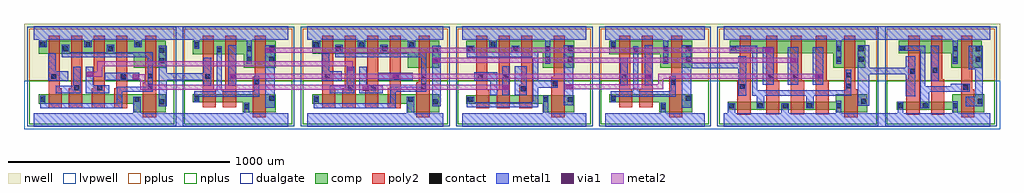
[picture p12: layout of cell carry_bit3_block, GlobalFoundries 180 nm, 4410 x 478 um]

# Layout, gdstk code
import gdstk
lib = gdstk.Library(unit=1e-6, precision=1e-07)
def R(c, l, rs):  # rectangles x0, y0, x1, y1
    for r in rs: c.add(gdstk.rectangle(r[:2], r[2:], *l))
def A(c, l, x, y, w, h, nx, ny, dx, dy):  # array of equal rectangles
    R(c, l, [(x+i*dx, y+j*dy, x+i*dx+w, y+j*dy+h) for i in range(nx) for j in range(ny)])
def P(c, l, *ps):  # polygons
    for p in ps: c.add(gdstk.Polygon(p, *l))
nwell = (21, 0)
comp = (22, 0)
poly2 = (30, 0)
pplus = (31, 0)
nplus = (32, 0)
contact = (33, 0)
metal1 = (34, 0)
via1 = (35, 0)
metal2 = (36, 0)
dualgate = (55, 0)
lvpwell = (204, 0)

carry_bit3_unit = lib.new_cell('carry_bit3_unit')
R(carry_bit3_unit, nwell, [(-98.4,822.1,603.6,1081.1), (603.6,822.1,1137.6,1081.1), (1137.6,822.1,1839.6,1081.1), (1839.6,822.1,2485.6,1081.1), (2485.6,822.1,3019.6,1081.1), (3019.6,822.1,3777.6,1081.1), (3777.6,822.1,4311.6,1081.1)])
P(carry_bit3_unit, comp, [(398.6,680.6),(398.6,720.1),(-31.4,720.1),(-31.4,762.1),(542.6,762.1),(542.6,680.6)],
  [(398.6,882.1),(398.6,944.1),(-31.4,944.1),(-31.4,1004.1),(542.6,1004.1),(542.6,882.1)],
  [(894.6,882.1),(894.6,943.6),(664.6,943.6),(664.6,1003.6),(1038.6,1003.6),(1038.6,882.1)],
  [(890.6,680.6),(890.6,725.6),(664.6,725.6),(664.6,762.1),(1038.6,762.1),(1038.6,680.6)],
  [(1634.6,680.6),(1634.6,720.1),(1204.6,720.1),(1204.6,762.1),(1778.6,762.1),(1778.6,680.6)],
  [(1634.6,882.1),(1634.6,944.1),(1204.6,944.1),(1204.6,1004.1),(1778.6,1004.1),(1778.6,882.1)],
  [(2244.6,680.6),(2244.6,720.1),(1900.6,720.1),(1900.6,758.1),(2388.6,758.1),(2388.6,680.6)],
  [(2244.6,882.6),(2244.6,950.6),(1900.6,950.6),(1900.6,1004.1),(2388.6,1004.1),(2388.6,882.6)],
  [(2772.6,680.6),(2772.6,725.6),(2546.6,725.6),(2546.6,762.1),(2920.6,762.1),(2920.6,680.6)],
  [(2776.6,882.1),(2776.6,943.6),(2546.6,943.6),(2546.6,1003.6),(2920.6,1003.6),(2920.6,882.1)],
  [(3558.6,882.1),(3558.6,948.1),(3090.6,948.1),(3090.6,1004.1),(3702.6,1004.1),(3702.6,882.1)],
  [(3568.6,680.1),(3568.6,692.6),(3080.6,692.6),(3080.6,728.6),(3568.6,728.6),(3568.6,762.1),(3712.6,762.1),(3712.6,680.1)],
  [(4092.1,882.1),(4092.1,947.6),(3854.1,947.6),(3854.1,1004.1),(4230.1,1004.1),(4230.1,882.1)],
  [(4096.1,680.1),(4096.1,692.6),(3844.1,692.6),(3844.1,728.6),(4096.1,728.6),(4096.1,762.1),(4240.1,762.1),(4240.1,680.1)])
P(carry_bit3_unit, poly2, [(12.6,698.1),(12.6,1026.1),(62.6,1026.1),(62.6,790.1),(72.6,790.1),(72.6,698.1)],
  [(104.6,698.1),(104.6,790.1),(114.6,790.1),(114.6,1026.1),(164.6,1026.1),(164.6,698.1)],
  [(206.6,698.1),(206.6,790.1),(216.6,790.1),(216.6,1026.1),(266.6,1026.1),(266.6,698.1)],
  [(308.6,698.1),(308.6,790.1),(318.6,790.1),(318.6,1026.1),(368.6,1026.1),(368.6,698.1)],
  [(438.6,658.1),(438.6,815.6),(448.6,815.6),(448.6,1026.1),(498.6,1026.1),(498.6,658.1)],
  [(934.6,658.1),(934.6,840.6),(944.6,840.6),(944.6,1026.1),(994.6,1026.1),(994.6,658.1)],
  [(800.6,703.6),(800.6,784.1),(810.6,784.1),(810.6,1026.1),(860.6,1026.1),(860.6,703.6)],
  [(708.6,703.6),(708.6,1026.1),(758.6,1026.1),(758.6,784.1),(768.6,784.1),(768.6,703.6)],
  [(1248.6,698.1),(1248.6,1026.1),(1298.6,1026.1),(1298.6,790.1),(1308.6,790.1),(1308.6,698.1)],
  [(1340.6,698.1),(1340.6,790.1),(1350.6,790.1),(1350.6,1026.1),(1400.6,1026.1),(1400.6,698.1)],
  [(1442.6,698.1),(1442.6,790.1),(1452.6,790.1),(1452.6,1026.1),(1502.6,1026.1),(1502.6,698.1)],
  [(1544.6,698.1),(1544.6,790.1),(1554.6,790.1),(1554.6,1026.1),(1604.6,1026.1),(1604.6,698.1)],
  [(1674.6,658.1),(1674.6,815.6),(1684.6,815.6),(1684.6,1026.1),(1734.6,1026.1),(1734.6,658.1)],
  [(1944.6,698.1),(1944.6,1026.1),(1994.6,1026.1),(1994.6,780.1),(2004.6,780.1),(2004.6,698.1)],
  [(2036.6,698.1),(2036.6,780.1),(2046.6,780.1),(2046.6,1026.1),(2096.6,1026.1),(2096.6,698.1)],
  [(2138.6,698.1),(2138.6,804.1),(2148.6,804.1),(2148.6,1026.1),(2198.6,1026.1),(2198.6,698.1)],
  [(2284.6,658.1),(2284.6,840.1),(2294.6,840.1),(2294.6,1026.1),(2344.6,1026.1),(2344.6,658.1)],
  [(2590.6,703.6),(2590.6,1026.1),(2640.6,1026.1),(2640.6,784.1),(2650.6,784.1),(2650.6,703.6)],
  [(2682.6,703.6),(2682.6,784.1),(2692.6,784.1),(2692.6,1026.1),(2742.6,1026.1),(2742.6,703.6)],
  [(2816.6,658.1),(2816.6,840.6),(2826.6,840.6),(2826.6,1026.1),(2876.6,1026.1),(2876.6,658.1)],
  [(3124.6,670.1),(3124.6,826.1),(3134.6,826.1),(3134.6,1026.1),(3184.6,1026.1),(3184.6,670.1)],
  [(3254.6,670.6),(3254.6,1026.1),(3304.6,1026.1),(3304.6,826.1),(3314.6,826.1),(3314.6,670.6)],
  [(3366.6,670.6),(3366.6,1026.1),(3416.6,1026.1),(3416.6,826.1),(3426.6,826.1),(3426.6,670.6)],
  [(3478.6,670.6),(3478.6,1026.1),(3528.6,1026.1),(3528.6,826.1),(3538.6,826.1),(3538.6,670.6)],
  [(3608.6,658.1),(3608.6,1026.1),(3658.6,1026.1),(3658.6,784.1),(3668.6,784.1),(3668.6,658.1)],
  [(3888.1,670.1),(3888.1,830.6),(3898.1,830.6),(3898.1,1026.1),(3948.1,1026.1),(3948.1,670.1)],
  [(4000.1,670.1),(4000.1,1026.1),(4050.1,1026.1),(4050.1,830.6),(4060.1,830.6),(4060.1,670.1)],
  [(4136.1,658.1),(4136.1,1026.1),(4186.1,1026.1),(4186.1,784.1),(4196.1,784.1),(4196.1,658.1)])
R(carry_bit3_unit, pplus, [(-75.4,822.1,580.6,1058.1), (626.6,822.1,1114.6,1058.1), (1160.6,822.1,1816.6,1058.1), (1862.6,822.1,2462.6,1058.1), (2508.6,822.1,2996.6,1058.1), (3042.6,822.1,3754.6,1058.1), (3800.6,822.1,4288.6,1058.1)])
R(carry_bit3_unit, nplus, [(-75.4,626.1,580.6,822.1), (626.6,626.1,1114.6,822.1), (1160.6,626.1,1816.6,822.1), (1862.6,626.1,2462.6,822.1), (2508.6,626.1,2996.6,822.1), (3042.6,626.1,3754.6,822.1), (3800.6,626.1,4288.6,822.1)])
A(carry_bit3_unit, contact, 3217.6, 699.6, 22, 22, 3, 1, 112, 0)
A(carry_bit3_unit, contact, 3264.6, 832.1, 22, 22, 3, 1, 112, 0)
R(carry_bit3_unit, contact, [(897.6,694.6,919.6,716.6), (2779.6,694.6,2801.6,716.6), (4099.1,699.1,4121.1,721.1), (3087.6,699.6,3109.6,721.6), (3571.6,699.6,3593.6,721.6), (3851.1,699.6,3873.1,721.6), (3963.1,699.6,3985.1,721.6), (513.6,717.6,535.6,739.6), (1749.6,717.6,1771.6,739.6), (3683.6,719.6,3705.6,741.6), (4211.1,719.6,4233.1,741.6), (-24.4,727.1,-2.4,749.1), (401.1,727.1,423.1,749.1), (1211.6,727.1,1233.6,749.1), (1637.1,727.1,1659.1,749.1), (1907.6,727.1,1929.6,749.1), (2247.6,727.1,2269.6,749.1), (2359.6,727.1,2381.6,749.1), (671.6,732.6,693.6,754.6), (1009.6,732.6,1031.6,754.6), (2553.6,732.6,2575.6,754.6), (2891.6,732.6,2913.6,754.6), (2145.6,775.1,2167.6,797.1), (128.6,779.6,150.6,801.6), (232.1,779.6,254.1,801.6), (1364.6,779.6,1386.6,801.6), (1468.1,779.6,1490.1,801.6), (4146.1,782.1,4168.1,804.1), (3135.6,786.1,3157.6,808.1), (460.6,786.6,482.6,808.6), (1696.6,786.6,1718.6,808.6), (3615.6,788.1,3637.6,810.1), (2291.6,798.1,2313.6,820.1), (941.6,804.6,963.6,826.6), (2823.6,804.6,2845.6,826.6), (339.6,829.6,361.6,851.6), (1575.6,829.6,1597.6,851.6), (25.6,831.1,47.6,853.1), (719.6,831.1,741.6,853.1), (831.6,831.1,853.6,853.1), (1261.6,831.1,1283.6,853.1), (1951.6,831.1,1973.6,853.1), (2067.6,831.1,2089.6,853.1), (2601.6,831.1,2623.6,853.1), (2713.6,831.1,2735.6,853.1), (460.6,833.6,482.6,855.6), (1696.6,833.6,1718.6,855.6), (3615.6,837.6,3637.6,859.6), (3905.1,855.6,3927.1,877.6), (4007.1,859.6,4029.1,881.6), (513.6,902.1,535.6,924.1), (1749.6,902.1,1771.6,924.1), (907.6,909.1,929.6,931.1), (1009.6,909.1,1031.6,931.1), (2257.6,909.1,2279.6,931.1), (2359.6,909.1,2381.6,931.1), (2789.6,909.1,2811.6,931.1), (2891.6,909.1,2913.6,931.1), (3571.6,909.1,3593.6,931.1), (3673.6,909.1,3695.6,931.1), (4099.1,909.1,4121.1,931.1), (4201.1,909.1,4223.1,931.1), (513.6,949.1,535.6,971.1), (1749.6,949.1,1771.6,971.1), (773.6,950.6,795.6,972.6), (2655.6,950.6,2677.6,972.6), (907.6,956.1,929.6,978.1), (1009.6,956.1,1031.6,978.1), (2257.6,956.1,2279.6,978.1), (2359.6,956.1,2381.6,978.1), (2789.6,956.1,2811.6,978.1), (2891.6,956.1,2913.6,978.1), (3571.6,956.1,3593.6,978.1), (3673.6,956.1,3695.6,978.1), (4099.1,956.1,4121.1,978.1), (4201.1,956.1,4223.1,978.1), (77.6,957.1,99.6,979.1), (281.6,957.1,303.6,979.1), (1313.6,957.1,1335.6,979.1), (1517.6,957.1,1539.6,979.1), (1907.6,957.6,1929.6,979.6), (2111.6,957.6,2133.6,979.6), (3097.6,958.6,3119.6,980.6), (3861.1,959.6,3883.1,981.6), (671.6,974.6,693.6,996.6), (2553.6,974.6,2575.6,996.6), (-24.4,975.1,-2.4,997.1), (179.6,975.1,201.6,997.1), (405.6,975.1,427.6,997.1), (1211.6,975.1,1233.6,997.1), (1415.6,975.1,1437.6,997.1), (1641.6,975.1,1663.6,997.1), (2009.6,975.1,2031.6,997.1)])
A(carry_bit3_unit, metal1, 3240.6, 804.1, 48, 170, 3, 1, 112, 0)
R(carry_bit3_unit, metal1, [(991.6,701.6,1033.6,984.1), (2873.6,701.6,2915.6,984.1), (510.6,707.1,547.6,981.1), (1746.6,707.1,1783.6,981.1), (3669.6,709.1,3720.1,984.1), (2339.6,711.1,2383.6,984.1), (3886.6,753.6,3928.6,934.1), (3128.6,754.6,3164.6,933.1), (2062.6,758.1,2094.6,887.6), (2118.6,758.1,2173.6,887.6), (712.6,800.1,748.6,927.1), (824.6,800.1,860.6,983.1), (2594.6,800.1,2630.6,927.1), (2706.6,800.1,2742.6,983.1), (3998.6,820.1,4034.6,980.6), (510.6,825.8,748.6,857.8), (266.1,826.1,422.6,858.1), (1502.1,826.1,1658.6,858.1), (3669.7,851.5,3928.8,881.5)])
P(carry_bit3_unit, metal1, [(-30.4,974.6),(-30.4,1008.1),(-55.4,1008.1),(-55.4,1068.1),(647.8,1068.1),(647.8,1008.1),(433.6,1008.1),(433.6,974.6),(399.6,974.6),(399.6,1008.1),(207.6,1008.1),(207.6,974.6),(173.6,974.6),(173.6,1008.1),(3.6,1008.1),(3.6,974.6)],
  [(-55.4,616.1),(-55.4,676.1),(395.1,676.1),(395.1,749.6),(429.1,749.6),(429.1,676.1),(649.6,676.1),(649.6,616.1)],
  [(10.6,823.1),(10.6,946.1),(44.6,946.1),(44.6,865.1),(100.6,865.1),(100.6,823.1)],
  [(46.1,767.1),(46.1,800.1),(123.6,800.1),(123.6,887.1),(157.6,887.1),(157.6,767.1)],
  [(180.6,767.1),(180.6,887.1),(214.6,887.1),(214.6,803.1),(287.6,803.1),(287.6,767.1)],
  [(-24.9,699.1),(-24.9,755.1),(-1.9,755.1),(-1.9,722.1),(321.6,722.1),(321.6,796.6),(460.1,796.6),(460.1,928.6),(71.6,928.6),(71.6,985.1),(105.6,985.1),(105.6,951.6),(275.6,951.6),(275.6,985.1),(309.6,985.1),(309.6,951.6),(483.1,951.6),(483.1,772.6),(344.6,772.6),(344.6,699.1)],
  [(907.1,899.1),(907.1,1008.1),(694.1,1008.1),(694.1,968.6),(671.1,968.6),(671.1,1008.1),(646.6,1008.1),(646.6,1068.1),(1094.6,1068.1),(1094.6,1008.1),(930.1,1008.1),(930.1,899.1)],
  [(646.6,616.1),(646.6,676.1),(897.1,676.1),(897.1,722.6),(920.1,722.6),(920.1,676.1),(1094.6,676.1),(1094.6,616.1)],
  [(671.1,726.6),(671.1,775.1),(773.1,775.1),(773.1,978.6),(796.1,978.6),(796.1,775.1),(941.1,775.1),(941.1,844.6),(964.1,844.6),(964.1,751.6),(694.1,751.6),(694.1,726.6)],
  [(1246.6,823.1),(1246.6,946.1),(1280.6,946.1),(1280.6,865.1),(1336.6,865.1),(1336.6,823.1)],
  [(1282.1,767.1),(1282.1,800.1),(1359.6,800.1),(1359.6,887.1),(1393.6,887.1),(1393.6,767.1)],
  [(1416.6,767.1),(1416.6,887.1),(1450.6,887.1),(1450.6,803.1),(1523.6,803.1),(1523.6,767.1)],
  [(1211.1,699.1),(1211.1,755.1),(1234.1,755.1),(1234.1,722.1),(1557.6,722.1),(1557.6,796.6),(1696.1,796.6),(1696.1,928.6),(1307.6,928.6),(1307.6,985.1),(1341.6,985.1),(1341.6,951.6),(1511.6,951.6),(1511.6,985.1),(1545.6,985.1),(1545.6,951.6),(1719.1,951.6),(1719.1,772.6),(1580.6,772.6),(1580.6,699.1)],
  [(1180.6,616.1),(1180.6,676.1),(1631.1,676.1),(1631.1,749.6),(1665.1,749.6),(1665.1,676.1),(1796.6,676.1),(1796.6,616.1)],
  [(1205.6,974.6),(1205.6,1008.1),(1180.6,1008.1),(1180.6,1068.1),(1796.6,1068.1),(1796.6,1008.1),(1669.6,1008.1),(1669.6,974.6),(1635.6,974.6),(1635.6,1008.1),(1443.6,1008.1),(1443.6,974.6),(1409.6,974.6),(1409.6,1008.1),(1239.6,1008.1),(1239.6,974.6)],
  [(2007.6,758.1),(2007.6,823.1),(1936.6,823.1),(1936.6,861.1),(2039.6,861.1),(2039.6,758.1)],
  [(1901.6,703.6),(1901.6,749.6),(1935.6,749.6),(1935.6,726.6),(2201.1,726.6),(2201.1,928.6),(1901.6,928.6),(1901.6,980.1),(1935.6,980.1),(1935.6,951.6),(2105.6,951.6),(2105.6,980.1),(2139.6,980.1),(2139.6,951.6),(2224.1,951.6),(2224.1,826.1),(2314.1,826.1),(2314.1,792.1),(2224.1,792.1),(2224.1,703.6)],
  [(1882.6,616.1),(1882.6,676.1),(2247.1,676.1),(2247.1,755.1),(2270.1,755.1),(2270.1,676.1),(2442.6,676.1),(2442.6,616.1)],
  [(2257.1,899.1),(2257.1,1008.1),(2037.6,1008.1),(2037.6,974.6),(2003.6,974.6),(2003.6,1008.1),(1882.6,1008.1),(1882.6,1068.1),(2442.6,1068.1),(2442.6,1008.1),(2280.1,1008.1),(2280.1,899.1)],
  [(2553.1,726.6),(2553.1,775.1),(2655.1,775.1),(2655.1,978.6),(2678.1,978.6),(2678.1,775.1),(2823.1,775.1),(2823.1,844.6),(2846.1,844.6),(2846.1,751.6),(2576.1,751.6),(2576.1,726.6)],
  [(2528.6,616.1),(2528.6,676.1),(2779.1,676.1),(2779.1,722.6),(2802.1,722.6),(2802.1,676.1),(2976.6,676.1),(2976.6,616.1)],
  [(2789.1,899.1),(2789.1,1008.1),(2576.1,1008.1),(2576.1,968.6),(2553.1,968.6),(2553.1,1008.1),(2528.6,1008.1),(2528.6,1068.1),(2976.6,1068.1),(2976.6,1008.1),(2812.1,1008.1),(2812.1,899.1)],
  [(3571.1,899.1),(3571.1,1008.1),(3062.6,1008.1),(3062.6,1068.1),(3821.4,1068.1),(3821.4,1008.1),(3594.1,1008.1),(3594.1,899.1)],
  [(3062.6,616.1),(3062.6,676.1),(3081.6,676.1),(3081.6,722.1),(3115.6,722.1),(3115.6,676.1),(3323.6,676.1),(3323.6,722.1),(3357.6,722.1),(3357.6,676.1),(3571.1,676.1),(3571.1,731.6),(3594.1,731.6),(3594.1,676.1),(3822.7,676.1),(3822.7,616.1)],
  [(3211.6,699.1),(3211.6,755.6),(3192.6,755.6),(3192.6,958.1),(3090.6,958.1),(3090.6,981.1),(3215.6,981.1),(3215.6,779.1),(3614.1,779.1),(3614.1,873.1),(3639.1,873.1),(3639.1,755.6),(3469.6,755.6),(3469.6,699.1),(3435.6,699.1),(3435.6,755.6),(3245.6,755.6),(3245.6,699.1)],
  [(3951.6,699.1),(3951.6,959.1),(3854.1,959.1),(3854.1,982.1),(3974.6,982.1),(3974.6,797.1),(4088.6,797.1),(4088.6,810.1),(4174.1,810.1),(4174.1,774.1),(3991.1,774.1),(3991.1,699.1)],
  [(4157.1,707.1),(4157.1,750.1),(4200.6,750.1),(4200.6,875.1),(4170.6,875.1),(4170.6,980.6),(4233.6,980.6),(4233.6,707.1)],
  [(3820.6,616.1),(3820.6,676.1),(3850.6,676.1),(3850.6,728.6),(3873.6,728.6),(3873.6,676.1),(4098.6,676.1),(4098.6,731.1),(4121.6,731.1),(4121.6,676.1),(4268.6,676.1),(4268.6,616.1)],
  [(4098.6,899.1),(4098.6,1008.1),(3820.6,1008.1),(3820.6,1068.1),(4268.6,1068.1),(4268.6,1008.1),(4121.6,1008.1),(4121.6,899.1)])
R(carry_bit3_unit, dualgate, [(-83.4,618.1,588.6,1066.1), (618.6,618.1,1122.6,1066.1), (1152.6,618.1,1824.6,1066.1), (1854.6,618.1,2470.6,1066.1), (2500.6,618.1,3004.6,1066.1), (3034.6,618.1,3762.6,1066.1), (3792.6,618.1,4296.6,1066.1)])
R(carry_bit3_unit, lvpwell, [(-98.4,603.1,603.6,822.1), (603.6,603.1,1137.6,822.1), (1137.6,603.1,1839.6,822.1), (1839.6,603.1,2485.6,822.1), (2485.6,603.1,3019.6,822.1), (3019.6,603.1,3777.6,822.1), (3777.6,603.1,4311.6,822.1)])
carry_bit3_unit.add(gdstk.Label('IN2_P1', (196.6,842.1), layer=34, texttype=10))
carry_bit3_unit.add(gdstk.Label('IN3_P2', (364.6,842.1), layer=34, texttype=10))
carry_bit3_unit.add(gdstk.Label('VDD', (84.6,1038.1), layer=34, texttype=10))
carry_bit3_unit.add(gdstk.Label('VSS', (84.6,646.1), layer=34, texttype=10))
carry_bit3_unit.add(gdstk.Label('Z', (532.6,842.1), layer=34, texttype=10))
carry_bit3_unit.add(gdstk.Label('IN0_C01', (28.6,898.1), layer=34, texttype=10))
carry_bit3_unit.add(gdstk.Label('IN1_P0', (140.6,842.1), layer=34, texttype=10))
carry_bit3_unit.add(gdstk.Label('IN4_P3', (842.6,898.1), layer=34, texttype=10))
carry_bit3_unit.add(gdstk.Label('A1', (730.6,842.1), layer=34, texttype=10))
carry_bit3_unit.add(gdstk.Label('OUT_AND5_P3210C-1', (1010.6,842.1), layer=34, texttype=10))
carry_bit3_unit.add(gdstk.Label('VSS', (870.6,646.1), layer=34, texttype=10))
carry_bit3_unit.add(gdstk.Label('VDD', (870.6,1038.1), layer=34, texttype=10))
carry_bit3_unit.add(gdstk.Label('IN2_P2', (1432.6,842.1), layer=34, texttype=10))
carry_bit3_unit.add(gdstk.Label('IN3_P3', (1600.6,842.1), layer=34, texttype=10))
carry_bit3_unit.add(gdstk.Label('VDD', (1320.6,1038.1), layer=34, texttype=10))
carry_bit3_unit.add(gdstk.Label('VSS', (1320.6,646.1), layer=34, texttype=10))
carry_bit3_unit.add(gdstk.Label('OUT_AND4_P321G0', (1768.6,842.1), layer=34, texttype=10))
carry_bit3_unit.add(gdstk.Label('IN0_G0', (1264.6,898.1), layer=34, texttype=10))
carry_bit3_unit.add(gdstk.Label('IN1_P1', (1376.6,842.1), layer=34, texttype=10))
carry_bit3_unit.add(gdstk.Label('IN2_P3', (2134.6,842.1), layer=34, texttype=10))
carry_bit3_unit.add(gdstk.Label('VDD', (2162.6,1038.1), layer=34, texttype=10))
carry_bit3_unit.add(gdstk.Label('VSS', (2162.6,646.1), layer=34, texttype=10))
carry_bit3_unit.add(gdstk.Label('OUT_AND3_P32G1', (2358.6,842.1), layer=34, texttype=10))
carry_bit3_unit.add(gdstk.Label('IN0_G1', (1966.6,842.1), layer=34, texttype=10))
carry_bit3_unit.add(gdstk.Label('IN1_P2', (2078.6,842.1), layer=34, texttype=10))
carry_bit3_unit.add(gdstk.Label('VDD', (2752.6,1038.1), layer=34, texttype=10))
carry_bit3_unit.add(gdstk.Label('VSS', (2752.6,646.1), layer=34, texttype=10))
carry_bit3_unit.add(gdstk.Label('OUT_AND2_P3G2', (2892.6,842.1), layer=34, texttype=10))
carry_bit3_unit.add(gdstk.Label('IN0_G2', (2612.6,842.1), layer=34, texttype=10))
carry_bit3_unit.add(gdstk.Label('IN1_P3', (2724.6,898.1), layer=34, texttype=10))
carry_bit3_unit.add(gdstk.Label('IN2_P321G0', (3370.6,898.1), layer=34, texttype=10))
carry_bit3_unit.add(gdstk.Label('IN3_P32G1', (3482.6,898.1), layer=34, texttype=10))
carry_bit3_unit.add(gdstk.Label('VDD', (3426.6,1040.1), layer=34, texttype=10))
carry_bit3_unit.add(gdstk.Label('VSS', (3426.6,644.1), layer=34, texttype=10))
carry_bit3_unit.add(gdstk.Label('Z', (3706.6,842.1), layer=34, texttype=10))
carry_bit3_unit.add(gdstk.Label('IN0_P3G2', (3146.6,842.1), layer=34, texttype=10))
carry_bit3_unit.add(gdstk.Label('IN1_P3210C-1', (3258.6,898.1), layer=34, texttype=10))
carry_bit3_unit.add(gdstk.Label('VDD', (4044.6,1038.6), layer=34, texttype=10))
carry_bit3_unit.add(gdstk.Label('VSS', (4044.6,645.1), layer=34, texttype=10))
carry_bit3_unit.add(gdstk.Label('OUT_OR5_C3', (4184.6,898.1), layer=34, texttype=10))
carry_bit3_unit.add(gdstk.Label('A1', (3904.6,842.1), layer=34, texttype=10))
carry_bit3_unit.add(gdstk.Label('IN4_G3', (4016.6,898.1), layer=34, texttype=10))
carry_bit3_unit.add(gdstk.Label('& Vendor GLOBALFOUNDRIES', (-55.4,846.1), layer=63, texttype=63))
carry_bit3_unit.add(gdstk.Label('& Product GF018hv5v_mcu_sc7', (-55.4,796.1), layer=63, texttype=63))
carry_bit3_unit.add(gdstk.Label('& Version 2015q2v1', (-55.4,746.1), layer=63, texttype=63))
carry_bit3_unit.add(gdstk.Label('& Metric 1.00', (-55.4,696.1), layer=63, texttype=63))
carry_bit3_unit.add(gdstk.Label('& Metric 1.00', (646.6,696.1), layer=63, texttype=63))
carry_bit3_unit.add(gdstk.Label('& Version 2015q2v1', (646.6,746.1), layer=63, texttype=63))
carry_bit3_unit.add(gdstk.Label('& Product GF018hv5v_mcu_sc7', (646.6,796.1), layer=63, texttype=63))
carry_bit3_unit.add(gdstk.Label('& Vendor GLOBALFOUNDRIES', (646.6,846.1), layer=63, texttype=63))
carry_bit3_unit.add(gdstk.Label('& Vendor GLOBALFOUNDRIES', (1180.6,846.1), layer=63, texttype=63))
carry_bit3_unit.add(gdstk.Label('& Product GF018hv5v_mcu_sc7', (1180.6,796.1), layer=63, texttype=63))
carry_bit3_unit.add(gdstk.Label('& Version 2015q2v1', (1180.6,746.1), layer=63, texttype=63))
carry_bit3_unit.add(gdstk.Label('& Metric 1.00', (1180.6,696.1), layer=63, texttype=63))
carry_bit3_unit.add(gdstk.Label('& Vendor GLOBALFOUNDRIES', (1882.6,846.1), layer=63, texttype=63))
carry_bit3_unit.add(gdstk.Label('& Product GF018hv5v_mcu_sc7', (1882.6,796.1), layer=63, texttype=63))
carry_bit3_unit.add(gdstk.Label('& Version 2015q2v1', (1882.6,746.1), layer=63, texttype=63))
carry_bit3_unit.add(gdstk.Label('& Metric 1.00', (1882.6,696.1), layer=63, texttype=63))
carry_bit3_unit.add(gdstk.Label('& Vendor GLOBALFOUNDRIES', (2528.6,846.1), layer=63, texttype=63))
carry_bit3_unit.add(gdstk.Label('& Product GF018hv5v_mcu_sc7', (2528.6,796.1), layer=63, texttype=63))
carry_bit3_unit.add(gdstk.Label('& Version 2015q2v1', (2528.6,746.1), layer=63, texttype=63))
carry_bit3_unit.add(gdstk.Label('& Metric 1.00', (2528.6,696.1), layer=63, texttype=63))
carry_bit3_unit.add(gdstk.Label('& Vendor GLOBALFOUNDRIES', (3062.6,846.1), layer=63, texttype=63))
carry_bit3_unit.add(gdstk.Label('& Product GF018hv5v_mcu_sc7', (3062.6,796.1), layer=63, texttype=63))
carry_bit3_unit.add(gdstk.Label('& Version 2015q2v1', (3062.6,746.1), layer=63, texttype=63))
carry_bit3_unit.add(gdstk.Label('& Metric 1.00', (3062.6,696.1), layer=63, texttype=63))
carry_bit3_unit.add(gdstk.Label('& Vendor GLOBALFOUNDRIES', (3820.6,846.1), layer=63, texttype=63))
carry_bit3_unit.add(gdstk.Label('& Product GF018hv5v_mcu_sc7', (3820.6,796.1), layer=63, texttype=63))
carry_bit3_unit.add(gdstk.Label('& Version 2015q2v1', (3820.6,746.1), layer=63, texttype=63))
carry_bit3_unit.add(gdstk.Label('& Metric 1.00', (3820.6,696.1), layer=63, texttype=63))

carry_bit3_block = lib.new_cell('carry_bit3_block')
R(carry_bit3_block, metal1, [(3175.1,2283.3,3457.2,2306.4)])
R(carry_bit3_block, via1, [(1730,2181.8,1755.6,2200.4), (1730,2181.8,1755.6,2200.4), (2361.6,2188.3,2387.2,2206.9), (2649.8,2189.8,2675.4,2208.4), (692.4,2235.8,718,2254.4), (3007.5,2237.2,3033.1,2255.8), (1130.4,2237.3,1156,2255.9), (1865.6,2237.4,1891.2,2256), (1865.6,2237.4,1891.2,2256), (3774.5,2237.4,3800.1,2256), (483.2,2246.5,508.8,2265.1), (1664,2272.8,1682.7,2288.1), (3660.2,2308.3,3685.8,2326.9), (2051.4,2309.1,2077,2327.7), (3549.3,2354.7,3574.9,2373.3), (1298.7,2355.2,1324.3,2373.8)])
R(carry_bit3_block, metal2, [(1127.5,2235.2,3037.5,2258.1), (2046.8,2306.4,3694.9,2329.3), (1292.2,2352.5,3584.6,2375.4)])
P(carry_bit3_block, metal2, [(2643,2187.8),(2643,2210.7),(3064.5,2210.7),(3064.5,2258),(3809.1,2258),(3809.1,2235.1),(3087.5,2235.1),(3087.5,2187.8)],
  [(723.1,2186),(723.1,2233.3),(689.7,2233.3),(689.7,2256.2),(746.1,2256.2),(746.1,2208.9),(2391.8,2208.9),(2391.8,2186)],
  [(480,2244.4),(480,2267.3),(530,2267.3),(530,2314.6),(1684.6,2314.6),(1684.6,2271),(1661.6,2271),(1661.6,2291.7),(553,2291.7),(553,2244.4)])
carry_bit3_block.add(gdstk.Reference(carry_bit3_unit, (297.3,1403.2)))

lib.write_gds('carry_bit3_block.gds')
